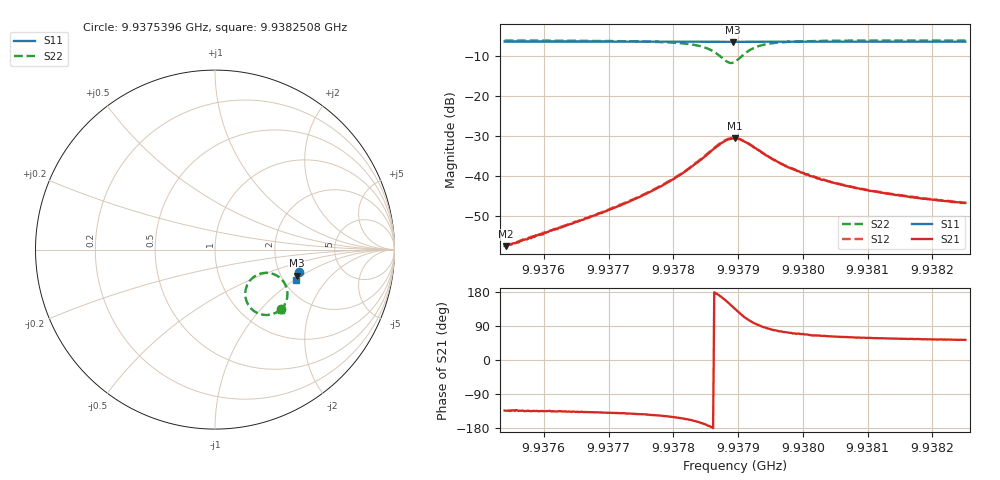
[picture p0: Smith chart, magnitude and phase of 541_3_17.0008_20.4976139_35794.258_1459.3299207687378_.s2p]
#  HZ  S  RI  R  50.00
! Rohde & Schwarz Vector Network Analyzer
! Rohde-Schwarz,ZNB20-2Port,1311601062101988,3.16
! Created: UTC 3/20/2024, 11:16:19 PM
! freq[Hz]  re:S11  im:S11  re:S21  im:S21  re:S12  im:S12  re:S22  im:S22
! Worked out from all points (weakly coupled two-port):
!   401 points, 9.9375396 GHz to 9.9382508 GHz, reference 50 ohm
!   highest |S21| = -30.51 dB at 9.9378952 GHz (marker M1); lowest = -57.4 dB at 9.9375414 GHz (marker M2)
!   lowest |S11| = -6.4 dB at 9.9378916 GHz (marker M3), VSWR 2.83, Z = 121 - j45.7 ohm
!   |S11| at or under -10 dB: nowhere
!   |S22| runs from -11.7 to -6.1 dB; largest |S21 - S12| = 0.0014
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9.93753961e9  0.4664 -0.1241  -0.000926 -0.000978  -0.000933 -0.00097  0.3673 -0.3332
9.93754139e9  0.4664 -0.1243  -0.000928 -0.000971  -0.000947 -0.000962  0.3671 -0.3336
9.93765873e9  0.4635 -0.1321  -0.00207 -0.00197  -0.00215 -0.00193  0.3511 -0.3451
9.93772096e9  0.462 -0.1362  -0.00343 -0.00281  -0.00354 -0.00282  0.336 -0.3533
9.93777785e9  0.4603 -0.1403  -0.00609 -0.00407  -0.00629 -0.00399  0.3104 -0.362
9.93781697e9  0.4588 -0.1431  -0.0103 -0.0048  -0.0105 -0.00472  0.2742 -0.3635
9.93785075e9  0.457 -0.1451  -0.018 -0.0029  -0.0186 -0.00255  0.2129 -0.3389
9.93786319e9  0.4563 -0.1457  -0.0224 0.000458  -0.0228 0.0011  0.1841 -0.3058
9.93787564e9  0.4553 -0.1458  -0.0254 0.00724  -0.0258 0.00809  0.1685 -0.2479
9.93788453e9  0.4551 -0.1455  -0.0253 0.0139  -0.0254 0.0149  0.1799 -0.1957
9.93789164e9  0.4549 -0.1454  -0.0229 0.0189  -0.0227 0.0201  0.2081 -0.1589
9.93789519e9  0.4552 -0.1452  -0.0209 0.0212  -0.0205 0.0223  0.2272 -0.1451
9.93790408e9  0.4554 -0.1452  -0.0148 0.0245  -0.0141 0.0252  0.2802 -0.1295
9.93791653e9  0.4562 -0.1459  -0.00669 0.0245  -0.00599 0.0248  0.3419 -0.1437
9.93793609e9  0.4565 -0.1475  0.000393 0.0199  0.000938 0.0201  0.389 -0.1906
9.93795031e9  0.4565 -0.1487  0.00268 0.0167  0.00296 0.0168  0.4004 -0.2194
9.9379752e9  0.4563 -0.1508  0.0039 0.0127  0.00421 0.0127  0.4035 -0.2543
9.93801431e9  0.4552 -0.1537  0.00426 0.009  0.00441 0.00902  0.3978 -0.2842
9.9380641e9  0.454 -0.1571  0.00378 0.00671  0.00393 0.0067  0.3893 -0.3045
9.93813344e9  0.4522 -0.1619  0.00333 0.00502  0.00342 0.00506  0.3796 -0.3201
9.93818144e9  0.4509 -0.165  0.00304 0.00435  0.00316 0.00436  0.3743 -0.3269
9.93825078e9  0.449 -0.1693  0.00279 0.00372  0.00288 0.00373  0.3676 -0.3349
